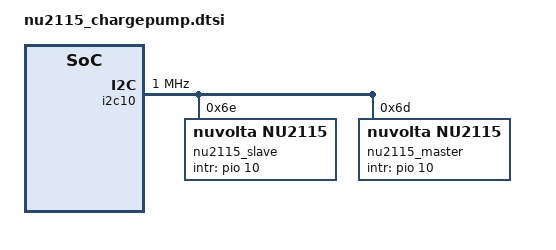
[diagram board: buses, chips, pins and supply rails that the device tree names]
// SPDX-License-Identifier: (GPL-2.0 OR MIT)
/*
 * Copyright (C) 2023 Wingtech Inc.
 */

&i2c10 {
	#address-cells = <1>;
	#size-cells = <0>;
	clock-frequency = <1000000>;

	nu2115_slave@6e {
		compatible = "nuvolta,nu2115";
		status = "okay";
		reg = <0x6e>;
		/* Please modify this to nu2115_slave if there is dual nu2115 */
		rm_name = "nu2115_slave";
		rm_slave_addr = /bits/ 8 <0x6e>;
		nu2115,intr-gpios = <&pio 10 0x0>;
		standalone {
			chg_name = "primary_dvchg";
			vbatovp = <4430000>;
			vbatovp_alm = <4400000>;
			ibatocp = <7500000>;
			ibatocp_alm = <7400000>;
			vbusovp = <10000000>;
			vbusovp_alm = <9000000>;
			ibusocp = <5000000>;
			ibusocp_alm = <4900000>;
			tdie_alm = <1250>; /* 125℃ */
			tsbus_flt = <65000>; /* 6.5% */
			tsbat_flt = <65000>; /* 6.5% */
			vac1ovp = <12000000>; /* 12V */
			vac2ovp = <12000000>; /* 12V */
			fsw_set = <500>; /* 500KhZ */
			wd_timeout = <30000000>; /* 30s */
			ibat_rsense = <1>; /* 0: 2mohm, 1: 5mohm */
			ss_timeout = <10000000>; /* 10s */
			ibusucpf_deglitch = <5000>; /* 5ms */
			vout_ovp = <5000>; /* 5000mV */
			pmid2out_uvp = <5000>; /* 5% */
			pmid2out_ovp = <12500>; /* 12.5% */
			freq_shift = <0>; /* 0, 1: +10%, 2: -10% */
			/* vbatovp_dis; */
			/* vbatovp_alm_dis; */
			ibatocp_dis;
			ibatocp_alm_dis;
			ibusucp_dis;
			/* vbus_errhi_dis; */
			/* vbus_pd_en; */
			/* vbusovp_alm_dis; */
			/* ibusocp_dis; */
			ibusocp_alm_dis;
			tshut_dis;
			tshut_alm_dis;
			tsbus_flt_dis;
			tsbat_flt_dis;
			/* vac1_pd_en; */
			/* vac2_pd_en; */
			/* wd_timeout_dis; */
			/* voutovp_dis; */
			/* ibusadc_dis; */
			/* vbusadc_dis; */
			/* vacadc1_dis; */
			/* vacadc2_dis; */
			/* voutadc_dis; */
			/* vbatadc_dis; */
			ibatadc_dis;
			tsbusadc_dis;
			tsbatadc_dis;
			/* tdieadc_dis; */
		};
		slave {
			chg_name = "secondary_dvchg";
			vbatovp = <4500000>;
			vbatovp_alm = <4400000>;
			ibatocp = <6100000>;
			ibatocp_alm = <6000000>;
			vbusovp = <10000000>;
			vbusovp_alm = <9000000>;
			ibusocp = <4250000>;
			tdie_alm = <1250>; /* 125℃ */
			tsbus_flt = <65000>; /* 6.5% */
			tsbat_flt = <65000>; /* 6.5% */
			vac1ovp = <12000000>; /* 12V */
			vac2ovp = <12000000>; /* 12V */
			fsw_set = <500>; /* 600KhZ */
			wd_timeout = <30000000>; /* 30s */
			ibat_rsense = <1>; /* 0: 2mohm, 1: 5mohm */
			ss_timeout = <10000000>; /* 10s */
			ibusucpf_deglitch = <5000>; /* 5ms */
			vout_ovp = <5000>; /* 5000mV */
			pmid2out_uvp = <5000>; /* 5% */
			pmid2out_ovp = <12500>; /* 12.5% */
			/* vbatovp_dis; */
			/* vbatovp_alm_dis; */
			/* ibatocp_dis; */
			ibatocp_alm_dis;
			ibusucp_dis;
			/* vbus_in_range_dis; */
			/* vbus_pd_en; */
			/* vbusovp_alm_dis; */
			/* ibusocp_dis; */
			tshut_dis;
			tsbus_flt_dis;
			tsbat_flt_dis;
			/* vac1_pd_en; */
			/* vac2_pd_en; */
			/* wd_timeout_dis; */
			/* voutovp_dis; */
			/* ibusadc_dis; */
			/* vbusadc_dis; */
			/* vacadc1_dis; */
			/* vacadc2_dis; */
			/* voutadc_dis; */
			/* vbatadc_dis; */
			/* ibatadc_dis; */
			tsbusadc_dis;
			tsbatadc_dis;
			/* tdieadc_dis; */
		};
	};
	nu2115_master@6d {
		compatible = "nuvolta,nu2115";
		status = "okay";
		reg = <0x6d>;
		rm_name = "nu2115_master";
		rm_slave_addr = /bits/ 8 <0x6d>;
		nu2115,intr-gpios = <&pio 10 0x0>;
		standalone {
			chg_name = "primary_dvchg";
			vbatovp = <4580000>;
			vbatovp_alm = <4500000>;
			ibatocp = <6200000>;
			ibatocp_alm = <6000000>;
			vbusovp = <11000000>;
			vbusovp_alm = <10500000>;
			//+PERIDOT-35, liyiying.wt, 20240305, mod, debug 45w requirement
			ibusocp = <5000000>;
			//-PERIDOT-35, liyiying.wt, 20240305, mod, debug 45w requirement
			tdie_alm = <1250>; /* 125℃ */
			tsbus_flt = <65000>; /* 6.5% */
			tsbat_flt = <65000>; /* 6.5% */
			vac1ovp = <12000000>; /* 12V */
			vac2ovp = <12000000>; /* 12V */
			fsw_set = <500>; /* 500KhZ */
			wd_timeout = <30000000>; /* 30s */
			ibat_rsense = <1>; /* 0: 2mohm, 1: 5mohm */
			ss_timeout = <10000000>; /* 10s */
			ibusucpf_deglitch = <5000>; /* 5ms */
			vout_ovp = <5000>; /* 5000mV */
			pmid2out_uvp = <5000>; /* 5% */
			pmid2out_ovp = <12500>; /* 12.5% */
			/* vbatovp_dis; */
			/* vbatovp_alm_dis; */
			//+PERIDOT-35, liyiying.wt, 20240305, mod, debug 45w requirement
		         ibatocp_dis;
		         //-PERIDOT-35, liyiying.wt, 20240305, mod, debug 45w requirement
			ibatocp_alm_dis;
			ibusucp_dis;
			/* vbus_in_range_dis; */
			/* vbus_pd_en; */
			/* vbusovp_alm_dis; */
			/* ibusocp_dis; */
			//+PERIDOT-35, liyiying.wt, 20240305, mod, debug 45w requirement
			ibusocp_alm_dis;
			//-PERIDOT-35, liyiying.wt, 20240305, mod, debug 45w requirement
			tshut_dis;
			tsbus_flt_dis;
			tsbat_flt_dis;
			/* vac1_pd_en; */
			/* vac2_pd_en; */
			/* wd_timeout_dis; */
			/* voutovp_dis; */
			/* ibusadc_dis; */
			/* vbusadc_dis; */
			/* vacadc1_dis; */
			/* vacadc2_dis; */
			/* voutadc_dis; */
			/* vbatadc_dis; */
			/* ibatadc_dis; */
			tsbusadc_dis;
			tsbatadc_dis;
			/* tdieadc_dis; */
		};
		master {
			chg_name = "primary_dvchg";
			vbatovp = <4580000>;
			vbatovp_alm = <4500000>;
			ibatocp = <6200000>;
			ibatocp_alm = <6000000>;
			vbusovp = <11000000>;
			vbusovp_alm = <10500000>;
			//+PERIDOT-35, liyiying.wt, 20240305, mod, debug 45w requirement
			ibusocp = <5000000>;
			//-PERIDOT-35, liyiying.wt, 20240305, mod, debug 45w requirement
			tdie_alm = <1250>; /* 125℃ */
			tsbus_flt = <65000>; /* 6.5% */
			tsbat_flt = <65000>; /* 6.5% */
			vac1ovp = <12000000>; /* 12V */
			vac2ovp = <12000000>; /* 12V */
			fsw_set = <500>; /* 500KhZ */
			wd_timeout = <30000000>; /* 30s */
			ibat_rsense = <1>; /* 0: 2mohm, 1: 5mohm */
			ss_timeout = <10000000>; /* 10s */
			ibusucpf_deglitch = <5000>; /* 5ms */
			vout_ovp = <5000>; /* 5000mV */
			pmid2out_uvp = <5000>; /* 5% */
			pmid2out_ovp = <12500>; /* 12.5% */
			/* vbatovp_dis; */
			/* vbatovp_alm_dis; */
			//+PERIDOT-35, liyiying.wt, 20240305, mod, debug 45w requirement
			ibatocp_dis;
			//-PERIDOT-35, liyiying.wt, 20240305, mod, debug 45w requirement
			ibatocp_alm_dis;
			ibusucp_dis;
			/* vbus_in_range_dis; */
			/* vbus_pd_en; */
			/* vbusovp_alm_dis; */
			/* ibusocp_dis; */
			//+PERIDOT-35, liyiying.wt, 20240305, mod, debug 45w requirement
			ibusocp_alm_dis;
			//-PERIDOT-35, liyiying.wt, 20240305, mod, debug 45w requirement
			tshut_dis;
			tsbus_flt_dis;
			tsbat_flt_dis;
			/* vac1_pd_en; */
			/* vac2_pd_en; */
			/* wd_timeout_dis; */
			/* voutovp_dis; */
			/* ibusadc_dis; */
			/* vbusadc_dis; */
			/* vacadc1_dis; */
			/* vacadc2_dis; */
			/* voutadc_dis; */
			/* vbatadc_dis; */
			/* ibatadc_dis; */
			tsbusadc_dis;
			tsbatadc_dis;
			/* tdieadc_dis; */
		};
	};
};
